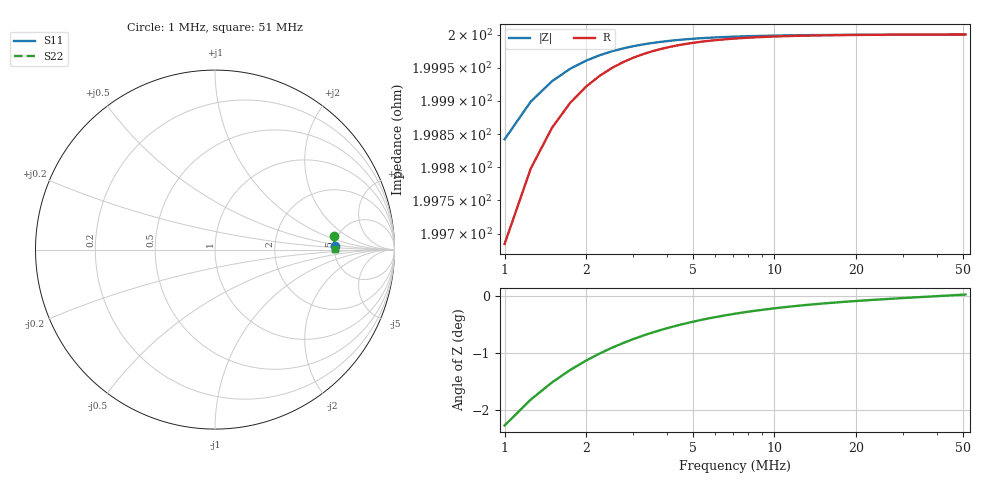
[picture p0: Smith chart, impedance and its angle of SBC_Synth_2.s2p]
# MHz S RI R 50
! S-Parameters data
! Freq  reS11  imS11  reS21  imS21  reS12  imS12  reS22  imS22
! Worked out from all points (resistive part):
!   201 points, 1 MHz to 51 MHz, reference 50 ohm
!   read as one part in series: R = 200 ohm at 1.25 MHz
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1  0.6659 0.0221  0.3318 0.0309  0.3318 0.0309  0.6631 0.075
1.25  0.6662 0.0177  0.3323 0.0247  0.3323 0.0247  0.6644 0.06
1.5  0.6663 0.0147  0.3326 0.0206  0.3326 0.0206  0.6651 0.0501
1.75  0.6664 0.0126  0.3328 0.0177  0.3328 0.0177  0.6655 0.0429
2  0.6665 0.0111  0.3329 0.0155  0.3329 0.0155  0.6658 0.0376
2.25  0.6665 0.00983  0.333 0.0137  0.333 0.0137  0.666 0.0334
2.5  0.6665 0.00885  0.3331 0.0124  0.3331 0.0124  0.6661 0.0301
2.75  0.6666 0.00805  0.3331 0.0112  0.3331 0.0112  0.6662 0.0273
3  0.6666 0.00738  0.3332 0.0103  0.3332 0.0103  0.6663 0.0251
3.5  0.6666 0.00633  0.3332 0.00882  0.3332 0.00882  0.6664 0.0215
4  0.6666 0.00555  0.3332 0.00771  0.3332 0.00771  0.6664 0.0188
4.5  0.6666 0.00494  0.3333 0.00685  0.3333 0.00685  0.6665 0.0167
5.25  0.6666 0.00424  0.3333 0.00586  0.3333 0.00586  0.6665 0.0143
6  0.6666 0.00372  0.3333 0.00512  0.3333 0.00512  0.6666 0.0126
7  0.6667 0.0032  0.3333 0.00438  0.3333 0.00438  0.6666 0.0108
9.5  0.6667 0.00238  0.3333 0.0032  0.3333 0.0032  0.6666 0.00796
13  0.6667 0.00177  0.3333 0.00231  0.3333 0.00231  0.6666 0.00585
17.75  0.6667 0.00134  0.3333 0.00164  0.3333 0.00164  0.6667 0.00433
26  0.6667 0.000995  0.3333 0.00105  0.3333 0.00105  0.6667 0.00304
34.5  0.6667 0.000833  0.3333 0.000704  0.3333 0.000704  0.6667 0.00237
42.75  0.6667 0.000756  0.3333 0.000485  0.3333 0.000485  0.6667 0.002
51  0.6667 0.000718  0.3333 0.000322  0.3333 0.000322  0.6667 0.00176
